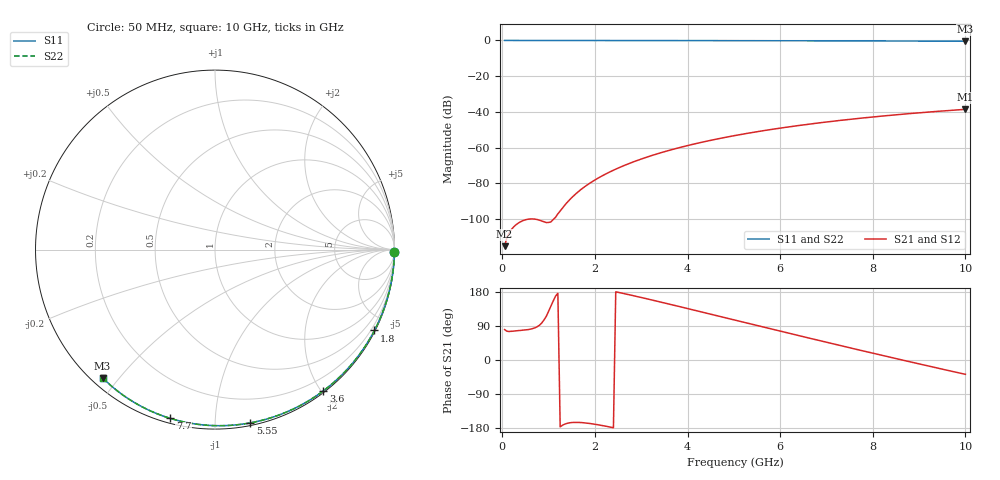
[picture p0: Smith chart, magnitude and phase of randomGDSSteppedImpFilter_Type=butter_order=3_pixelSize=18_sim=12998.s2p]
! freq	dB(S11)	phase(S11)	dB(S12)	phase(S12)
!  dB(S21)	phase(S21)	dB(S22)	phase(S22)
!S-par simulation data
#  GHz  S  DB  R 50
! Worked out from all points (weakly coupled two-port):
!   200 points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, 50 MHz to 10 GHz, reference 50 ohm
!   highest |S21| = -38.58 dB at 10 GHz (marker M1); lowest = -115.2 dB at 50 MHz (marker M2)
!   lowest |S11| = -0.4 dB at 10 GHz (marker M3), VSWR 39.18, Z = 1.54 - j22.7 ohm
!   |S11| at or under -10 dB: nowhere
!   |S22| runs from -0.4 to 0.0 dB; largest |S21 - S12| = 0
!   S11 on the Smith chart (normalised r, x): 50 MHz: open; 1.8 GHz: 0.04, -4.18; 3.6 GHz: 0.02, -2.02; 5.55 GHz: 0.02, -1.22; 7.7 GHz: 0.02, -0.77; 10 GHz: 0.03, -0.45
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0.05  -0.00 -0.8  -115.22 80.2  -115.22 80.2  -0.00 -0.8
0.45  -0.01 -6.8  -100.88 78.6  -100.88 78.6  -0.01 -6.8
0.9  -0.02 -13.6  -101.61 105.6  -101.61 105.6  -0.02 -13.6
1.75  -0.03 -26.1  -82.48 -165.6  -82.48 -165.6  -0.03 -26.1
1.8  -0.03 -26.9  -81.53 -166.2  -81.53 -166.2  -0.03 -26.9
1.9  -0.04 -28.3  -79.77 -167.7  -79.77 -167.7  -0.04 -28.3
2.05  -0.04 -30.5  -77.38 -170.6  -77.38 -170.6  -0.04 -30.5
2.25  -0.04 -33.4  -74.56 -175.1  -74.56 -175.1  -0.04 -33.4
2.45  -0.05 -36.3  -72.07 180.0  -72.07 180.0  -0.05 -36.3
2.65  -0.05 -39.2  -69.84 174.7  -69.84 174.7  -0.05 -39.2
3  -0.06 -44.2  -66.42 165.0  -66.42 165.0  -0.06 -44.2
3.4  -0.07 -49.8  -63.07 153.5  -63.07 153.5  -0.07 -49.8
3.6  -0.07 -52.6  -61.58 147.6  -61.58 147.6  -0.07 -52.6
4.3  -0.09 -62.1  -57.06 126.9  -57.06 126.9  -0.09 -62.1
5.05  -0.11 -72.1  -53.13 104.5  -53.13 104.5  -0.11 -72.1
5.55  -0.13 -78.5  -50.90 89.6  -50.90 89.6  -0.13 -78.5
6.1  -0.15 -85.5  -48.73 73.3  -48.73 73.3  -0.15 -85.5
6.7  -0.18 -92.9  -46.63 55.6  -46.63 55.6  -0.18 -92.9
7.7  -0.24 -104.9  -43.65 26.6  -43.65 26.6  -0.24 -104.9
8.35  -0.29 -112.4  -41.99 8.0  -41.99 8.0  -0.29 -112.4
9.15  -0.36 -121.6  -40.21 -14.4  -40.21 -14.4  -0.36 -121.6
10  -0.44 -131.2  -38.58 -37.8  -38.58 -37.8  -0.44 -131.2
